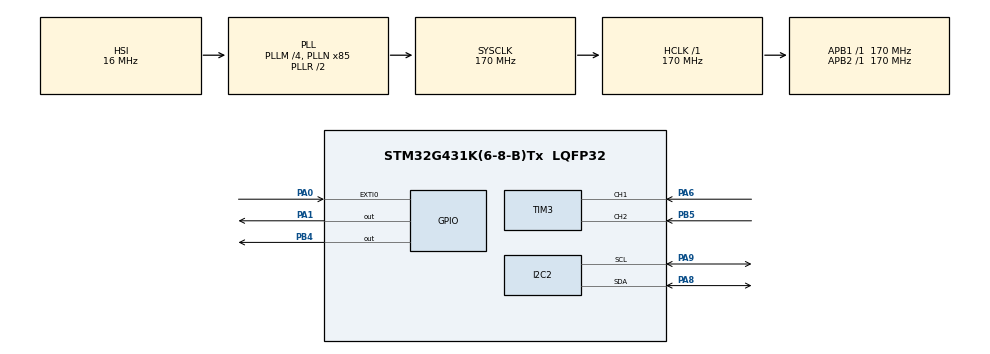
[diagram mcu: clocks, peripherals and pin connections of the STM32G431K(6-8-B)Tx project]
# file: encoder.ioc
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ADC1.Channel-0\#ChannelRegularConversion=ADC_CHANNEL_TEMPSENSOR_ADC1
ADC1.ExternalTrigConv=ADC_EXTERNALTRIG_T15_TRGO
ADC1.NbrOfConversionFlag=1
ADC1.OffsetNumber-0\#ChannelRegularConversion=ADC_OFFSET_NONE
ADC1.Rank-0\#ChannelRegularConversion=1
ADC1.SamplingTime-0\#ChannelRegularConversion=ADC_SAMPLETIME_640CYCLES_5
ADC1.master=1
I2C2.CustomTiming=Enabled
I2C2.Timing=0x40B285C2
Mcu.Family=STM32G4
Mcu.Name=STM32G431K(6-8-B)Tx
Mcu.Package=LQFP32
NUCLEO-G431KB.Bsp_Common_DEMO=true
NUCLEO-G431KB.LD2=true
NUCLEO-G431KB.VCP=true
NVIC.ADC1_2_IRQn=true\:0\:0\:false\:false\:true\:true\:true\:true
NVIC.EXTI0_IRQn=true\:0\:0\:false\:true\:true\:1\:true\:true\:true
NVIC.I2C2_ER_IRQn=true\:0\:0\:false\:true\:true\:3\:true\:true\:true
NVIC.I2C2_EV_IRQn=true\:0\:0\:false\:true\:true\:2\:true\:true\:true
NVIC.PriorityGroup=NVIC_PRIORITYGROUP_4
NVIC.TIM3_IRQn=true\:0\:0\:false\:false\:true\:true\:true\:true
PA0.GPIO_ModeDefaultEXTI=GPIO_MODE_IT_FALLING
PA0.Signal=GPXTI0
PA1.Signal=GPIO_Output
PA13.Mode=Serial_Wire
PA13.Signal=SYS_JTMS-SWDIO
PA14.Mode=Serial_Wire
PA14.Signal=SYS_JTCK-SWCLK
PA2.Signal=USART2_TX
PA3.Signal=USART2_RX
PA6.GPIO_PuPd=GPIO_PULLUP
PA6.Signal=S_TIM3_CH1
PA8.GPIO_Pu=GPIO_PULLUP
PA8.Mode=I2C
PA8.Signal=I2C2_SDA
PA9.GPIO_Pu=GPIO_PULLUP
PA9.Mode=I2C
PA9.Signal=I2C2_SCL
PB4.Signal=GPIO_Output
PB5.GPIO_PuPd=GPIO_PULLUP
PB5.Signal=S_TIM3_CH2
PF0-OSC_IN.Mode=HSE-External-Oscillator
PF0-OSC_IN.Signal=RCC_OSC_IN
PF1-OSC_OUT.Mode=HSE-External-Oscillator
PF1-OSC_OUT.Signal=RCC_OSC_OUT
ProjectManager.HeapSize=0x200
ProjectManager.StackSize=0x400
ProjectManager.TargetToolchain=STM32CubeIDE
RCC.ADC12Freq_Value=170000000
RCC.AHBFreq_Value=170000000
RCC.APB1Freq_Value=170000000
RCC.APB1TimFreq_Value=170000000
RCC.APB2Freq_Value=170000000
RCC.APB2TimFreq_Value=170000000
RCC.CortexFreq_Value=170000000
RCC.EXTERNAL_CLOCK_VALUE=12288000
RCC.HCLKFreq_Value=170000000
RCC.HSE_VALUE=8000000
RCC.HSI48_VALUE=48000000
RCC.HSI_VALUE=16000000
RCC.LSE_VALUE=32768
RCC.PLLM=RCC_PLLM_DIV4
RCC.PLLN=85
RCC.PREFETCH_ENABLE=1
RCC.SYSCLKFreq_VALUE=170000000
RCC.SYSCLKSource=RCC_SYSCLKSOURCE_PLLCLK
RCC.USBFreq_Value=170000000
RCC.VCOOutputFreq_Value=340000000
SH.S_TIM3_CH1.0=TIM3_CH1,Encoder_Interface
SH.S_TIM3_CH2.0=TIM3_CH2,Encoder_Interface
TIM3.EncoderMode=TIM_ENCODERMODE_TI12
TIM3.IC1Filter=15
TIM3.IC1Polarity=TIM_ICPOLARITY_FALLING
TIM3.IC2Filter=15
TIM3.IC2Polarity=TIM_ICPOLARITY_FALLING
VP_ADC1_TempSens_Input.Mode=IN-TempSens
VP_ADC1_Vref_Input.Mode=IN-Vrefint
VP_NUCLEO-G431KB_VS_BSP_COMMON.Mode=COMMON
VP_RTC_VS_RTC_Activate.Mode=RTC_Enabled
VP_SYS_VS_DBSignals.Mode=DisableDeadBatterySignals
VP_SYS_V_PVD_IN.Mode=Mode_PVD_Int
VP_TIM15_VS_ClockSourceINT.Mode=Internal
board=NUCLEO-G431KB

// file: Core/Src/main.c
/* USER CODE BEGIN Header */
/**
  ******************************************************************************
  * @file           : main.c
  * @brief          : Main program body
  ******************************************************************************
  * @attention
  *
  * Copyright (c) 2026 STMicroelectronics.
  * All rights reserved.
  *
  * This software is licensed under terms that can be found in the LICENSE file
  * in the root directory of this software component.
  * If no LICENSE file comes with this software, it is provided AS-IS.
  *
  ******************************************************************************
  */
/* USER CODE END Header */
#include "main.h"

/* USER CODE BEGIN Includes */
#include "OLED.h"
#include <stdio.h>
/* USER CODE END Includes */

COM_InitTypeDef BspCOMInit;

ADC_HandleTypeDef hadc1;

I2C_HandleTypeDef hi2c2;

RTC_HandleTypeDef hrtc;

TIM_HandleTypeDef htim3;
TIM_HandleTypeDef htim15;

/* USER CODE BEGIN PV */
// static const uint8_t HUM_ADDR = 0x44 << 1;
// static const uint8_t LIS3DH_ADDR = 0x18 << 1;
// static const uint8_t DISPLAY_ADDR = 0x3C << 1;
// static const uint8_t TEMP_ADDR = 0x48 << 1;
// static const uint8_t BMP280_ADDR 0x77 << 1
// static const uint8_t AHT20_ADDR 0x38 << 1

uint32_t counter = 0;
uint16_t count = 0;
uint16_t pos = 0;
int speed = 0;
/* USER CODE END PV */

void SystemClock_Config(void);
static void MX_GPIO_Init(void);
static void MX_I2C2_Init(void);
static void MX_ADC1_Init(void);
static void MX_RTC_Init(void);
static void MX_TIM15_Init(void);
static void MX_TIM3_Init(void);
static void MX_NVIC_Init(void);
/* USER CODE BEGIN PFP */
void HAL_TIM_IC_CaptureCallback(TIM_HandleTypeDef *htim);

/* USER CODE END PFP */

int main(void)
{

  /* MCU Configuration--------------------------------------------------------*/

  /* Reset of all peripherals, Initializes the Flash interface and the Systick. */
  HAL_Init();

  /* Configure the system clock */
  SystemClock_Config();

  /* Initialize all configured peripherals */
  MX_GPIO_Init();
  MX_I2C2_Init();
  MX_ADC1_Init();
  MX_RTC_Init();
  MX_TIM15_Init();
  MX_TIM3_Init();

  /* Initialize interrupts */
  MX_NVIC_Init();
  /* USER CODE BEGIN 2 */

  int encoder_value = 0;
  int past_counter_value = 0;
  float angle = 0.0;
  char print_msg[200] = {'\0'};

  HAL_TIM_Encoder_Start(&htim3, TIM_CHANNEL_ALL);
  /* USER CODE END 2 */

  /* Initialize leds */
  BSP_LED_Init(LED_GREEN);

  /* Initialize COM1 port (115200, 8 bits (7-bit data + 1 stop bit), no parity */
  BspCOMInit.BaudRate   = 115200;
  BspCOMInit.WordLength = COM_WORDLENGTH_8B;
  BspCOMInit.StopBits   = COM_STOPBITS_1;
  BspCOMInit.Parity     = COM_PARITY_NONE;
  BspCOMInit.HwFlowCtl  = COM_HWCONTROL_NONE;
  if (BSP_COM_Init(COM1, &BspCOMInit) != BSP_ERROR_NONE)
  {
    Error_Handler();
  }

  /* USER CODE BEGIN BSP */

  /* -- Sample board code to send message over COM1 port ---- */
  printf("Welcome to STM32 world !\n\r");

  /* -- Sample board code to switch on leds ---- */
  BSP_LED_On(LED_GREEN);
  /* USER CODE END BSP */

  /* Infinite loop */
  /* USER CODE BEGIN WHILE */

  //Display Initialisation
  HAL_Delay(100);
  OLED_Init(Display);
  HAL_Delay(10);
  OLED_CLS(Display);
  HAL_Delay(10);
  OLED_P8x16Str(Display, 0, 4, "MaKE sOme FuN!;)");
  HAL_Delay(2000);
  OLED_CLS(Display);
  HAL_Delay(10);

  while (1)
  {

/* -- Sample board code to toggle leds ---- */
       BSP_LED_Toggle(LED_GREEN);

    /* USER CODE END WHILE */

    /* USER CODE BEGIN 3 */

       encoder_value = TIM3->CNT; // current counter
       if (encoder_value != past_counter_value) {
    	   angle = (360.0f/2400.0f)*((float)encoder_value);
    	   sprintf(print_msg, "Angle: %.2f  ", angle);
    	   printf("Current angle is: %.2f\r\n", angle);
    	   OLED_P8x16Str(Display, 0, 2, print_msg);
    	   HAL_Delay(50);

       }
       past_counter_value = encoder_value;

  }
  /* USER CODE END 3 */
}

void SystemClock_Config(void)
{
  RCC_OscInitTypeDef RCC_OscInitStruct = {0};
  RCC_ClkInitTypeDef RCC_ClkInitStruct = {0};

  /** Configure the main internal regulator output voltage
  */
  HAL_PWREx_ControlVoltageScaling(PWR_REGULATOR_VOLTAGE_SCALE1_BOOST);

  /** Initializes the RCC Oscillators according to the specified parameters
  * in the RCC_OscInitTypeDef structure.
  */
  RCC_OscInitStruct.OscillatorType = RCC_OSCILLATORTYPE_HSI|RCC_OSCILLATORTYPE_LSI;
  RCC_OscInitStruct.HSIState = RCC_HSI_ON;
  RCC_OscInitStruct.HSICalibrationValue = RCC_HSICALIBRATION_DEFAULT;
  RCC_OscInitStruct.LSIState = RCC_LSI_ON;
  RCC_OscInitStruct.PLL.PLLState = RCC_PLL_ON;
  RCC_OscInitStruct.PLL.PLLSource = RCC_PLLSOURCE_HSI;
  RCC_OscInitStruct.PLL.PLLM = RCC_PLLM_DIV4;
  RCC_OscInitStruct.PLL.PLLN = 85;
  RCC_OscInitStruct.PLL.PLLP = RCC_PLLP_DIV2;
  RCC_OscInitStruct.PLL.PLLQ = RCC_PLLQ_DIV2;
  RCC_OscInitStruct.PLL.PLLR = RCC_PLLR_DIV2;
  if (HAL_RCC_OscConfig(&RCC_OscInitStruct) != HAL_OK)
  {
    Error_Handler();
  }

  /** Initializes the CPU, AHB and APB buses clocks
  */
  RCC_ClkInitStruct.ClockType = RCC_CLOCKTYPE_HCLK|RCC_CLOCKTYPE_SYSCLK
                              |RCC_CLOCKTYPE_PCLK1|RCC_CLOCKTYPE_PCLK2;
  RCC_ClkInitStruct.SYSCLKSource = RCC_SYSCLKSOURCE_PLLCLK;
  RCC_ClkInitStruct.AHBCLKDivider = RCC_SYSCLK_DIV1;
  RCC_ClkInitStruct.APB1CLKDivider = RCC_HCLK_DIV1;
  RCC_ClkInitStruct.APB2CLKDivider = RCC_HCLK_DIV1;

  if (HAL_RCC_ClockConfig(&RCC_ClkInitStruct, FLASH_LATENCY_4) != HAL_OK)
  {
    Error_Handler();
  }
}

/**
  * @brief NVIC Configuration.
  * @retval None
  */
static void MX_NVIC_Init(void)
{
  /* EXTI0_IRQn interrupt configuration */
  HAL_NVIC_SetPriority(EXTI0_IRQn, 0, 0);
  HAL_NVIC_EnableIRQ(EXTI0_IRQn);
  /* I2C2_EV_IRQn interrupt configuration */
  HAL_NVIC_SetPriority(I2C2_EV_IRQn, 0, 0);
  HAL_NVIC_EnableIRQ(I2C2_EV_IRQn);
  /* I2C2_ER_IRQn interrupt configuration */
  HAL_NVIC_SetPriority(I2C2_ER_IRQn, 0, 0);
  HAL_NVIC_EnableIRQ(I2C2_ER_IRQn);
}

static void MX_ADC1_Init(void)
{

  ADC_MultiModeTypeDef multimode = {0};
  ADC_ChannelConfTypeDef sConfig = {0};

  /** Common config
  */
  hadc1.Instance = ADC1;
  hadc1.Init.ClockPrescaler = ADC_CLOCK_SYNC_PCLK_DIV4;
  hadc1.Init.Resolution = ADC_RESOLUTION_12B;
  hadc1.Init.DataAlign = ADC_DATAALIGN_RIGHT;
  hadc1.Init.GainCompensation = 0;
  hadc1.Init.ScanConvMode = ADC_SCAN_DISABLE;
  hadc1.Init.EOCSelection = ADC_EOC_SINGLE_CONV;
  hadc1.Init.LowPowerAutoWait = DISABLE;
  hadc1.Init.ContinuousConvMode = DISABLE;
  hadc1.Init.NbrOfConversion = 1;
  hadc1.Init.DiscontinuousConvMode = DISABLE;
  hadc1.Init.ExternalTrigConv = ADC_EXTERNALTRIG_T15_TRGO;
  hadc1.Init.ExternalTrigConvEdge = ADC_EXTERNALTRIGCONVEDGE_RISING;
  hadc1.Init.DMAContinuousRequests = DISABLE;
  hadc1.Init.Overrun = ADC_OVR_DATA_PRESERVED;
  hadc1.Init.OversamplingMode = DISABLE;
  if (HAL_ADC_Init(&hadc1) != HAL_OK)
  {
    Error_Handler();
  }

  /** Configure the ADC multi-mode
  */
  multimode.Mode = ADC_MODE_INDEPENDENT;
  if (HAL_ADCEx_MultiModeConfigChannel(&hadc1, &multimode) != HAL_OK)
  {
    Error_Handler();
  }

  /** Configure Regular Channel
  */
  sConfig.Channel = ADC_CHANNEL_TEMPSENSOR_ADC1;
  sConfig.Rank = ADC_REGULAR_RANK_1;
  sConfig.SamplingTime = ADC_SAMPLETIME_640CYCLES_5;
  sConfig.SingleDiff = ADC_SINGLE_ENDED;
  sConfig.OffsetNumber = ADC_OFFSET_NONE;
  sConfig.Offset = 0;
  if (HAL_ADC_ConfigChannel(&hadc1, &sConfig) != HAL_OK)
  {
    Error_Handler();
  }

}

static void MX_I2C2_Init(void)
{

  hi2c2.Instance = I2C2;
  hi2c2.Init.Timing = 0x40B285C2;
  hi2c2.Init.OwnAddress1 = 0;
  hi2c2.Init.AddressingMode = I2C_ADDRESSINGMODE_7BIT;
  hi2c2.Init.DualAddressMode = I2C_DUALADDRESS_DISABLE;
  hi2c2.Init.OwnAddress2 = 0;
  hi2c2.Init.OwnAddress2Masks = I2C_OA2_NOMASK;
  hi2c2.Init.GeneralCallMode = I2C_GENERALCALL_DISABLE;
  hi2c2.Init.NoStretchMode = I2C_NOSTRETCH_DISABLE;
  if (HAL_I2C_Init(&hi2c2) != HAL_OK)
  {
    Error_Handler();
  }

  /** Configure Analogue filter
  */
  if (HAL_I2CEx_ConfigAnalogFilter(&hi2c2, I2C_ANALOGFILTER_ENABLE) != HAL_OK)
  {
    Error_Handler();
  }

  /** Configure Digital filter
  */
  if (HAL_I2CEx_ConfigDigitalFilter(&hi2c2, 0) != HAL_OK)
  {
    Error_Handler();
  }

}

static void MX_RTC_Init(void)
{

  /** Initialize RTC Only
  */
  hrtc.Instance = RTC;
  hrtc.Init.HourFormat = RTC_HOURFORMAT_24;
  hrtc.Init.AsynchPrediv = 127;
  hrtc.Init.SynchPrediv = 255;
  hrtc.Init.OutPut = RTC_OUTPUT_DISABLE;
  hrtc.Init.OutPutRemap = RTC_OUTPUT_REMAP_NONE;
  hrtc.Init.OutPutPolarity = RTC_OUTPUT_POLARITY_HIGH;
  hrtc.Init.OutPutType = RTC_OUTPUT_TYPE_OPENDRAIN;
  hrtc.Init.OutPutPullUp = RTC_OUTPUT_PULLUP_NONE;
  if (HAL_RTC_Init(&hrtc) != HAL_OK)
  {
    Error_Handler();
  }

}

static void MX_TIM3_Init(void)
{

  TIM_Encoder_InitTypeDef sConfig = {0};
  TIM_MasterConfigTypeDef sMasterConfig = {0};

  htim3.Instance = TIM3;
  htim3.Init.Prescaler = 0;
  htim3.Init.CounterMode = TIM_COUNTERMODE_UP;
  htim3.Init.Period = 65535;
  htim3.Init.ClockDivision = TIM_CLOCKDIVISION_DIV1;
  htim3.Init.AutoReloadPreload = TIM_AUTORELOAD_PRELOAD_DISABLE;
  sConfig.EncoderMode = TIM_ENCODERMODE_TI12;
  sConfig.IC1Polarity = TIM_ICPOLARITY_FALLING;
  sConfig.IC1Selection = TIM_ICSELECTION_DIRECTTI;
  sConfig.IC1Prescaler = TIM_ICPSC_DIV1;
  sConfig.IC1Filter = 15;
  sConfig.IC2Polarity = TIM_ICPOLARITY_FALLING;
  sConfig.IC2Selection = TIM_ICSELECTION_DIRECTTI;
  sConfig.IC2Prescaler = TIM_ICPSC_DIV1;
  sConfig.IC2Filter = 15;
  if (HAL_TIM_Encoder_Init(&htim3, &sConfig) != HAL_OK)
  {
    Error_Handler();
  }
  sMasterConfig.MasterOutputTrigger = TIM_TRGO_RESET;
  sMasterConfig.MasterSlaveMode = TIM_MASTERSLAVEMODE_DISABLE;
  if (HAL_TIMEx_MasterConfigSynchronization(&htim3, &sMasterConfig) != HAL_OK)
  {
    Error_Handler();
  }

}

static void MX_TIM15_Init(void)
{

  TIM_ClockConfigTypeDef sClockSourceConfig = {0};
  TIM_MasterConfigTypeDef sMasterConfig = {0};

  htim15.Instance = TIM15;
  htim15.Init.Prescaler = 0;
  htim15.Init.CounterMode = TIM_COUNTERMODE_UP;
  htim15.Init.Period = 65535;
  htim15.Init.ClockDivision = TIM_CLOCKDIVISION_DIV1;
  htim15.Init.RepetitionCounter = 0;
  htim15.Init.AutoReloadPreload = TIM_AUTORELOAD_PRELOAD_DISABLE;
  if (HAL_TIM_Base_Init(&htim15) != HAL_OK)
  {
    Error_Handler();
  }
  sClockSourceConfig.ClockSource = TIM_CLOCKSOURCE_INTERNAL;
  if (HAL_TIM_ConfigClockSource(&htim15, &sClockSourceConfig) != HAL_OK)
  {
    Error_Handler();
  }
  sMasterConfig.MasterOutputTrigger = TIM_TRGO_RESET;
  sMasterConfig.MasterSlaveMode = TIM_MASTERSLAVEMODE_DISABLE;
  if (HAL_TIMEx_MasterConfigSynchronization(&htim15, &sMasterConfig) != HAL_OK)
  {
    Error_Handler();
  }

}

static void MX_GPIO_Init(void)
{
  GPIO_InitTypeDef GPIO_InitStruct = {0};

  /* GPIO Ports Clock Enable */
  __HAL_RCC_GPIOF_CLK_ENABLE();
  __HAL_RCC_GPIOA_CLK_ENABLE();
  __HAL_RCC_GPIOB_CLK_ENABLE();

  /*Configure GPIO pin Output Level */
  HAL_GPIO_WritePin(GPIOA, GPIO_PIN_1, GPIO_PIN_RESET);

  /*Configure GPIO pin Output Level */
  HAL_GPIO_WritePin(GPIOB, GPIO_PIN_4, GPIO_PIN_RESET);

  /*Configure GPIO pin : PA0 */
  GPIO_InitStruct.Pin = GPIO_PIN_0;
  GPIO_InitStruct.Mode = GPIO_MODE_IT_FALLING;
  GPIO_InitStruct.Pull = GPIO_NOPULL;
  HAL_GPIO_Init(GPIOA, &GPIO_InitStruct);

  /*Configure GPIO pin : PA1 */
  GPIO_InitStruct.Pin = GPIO_PIN_1;
  GPIO_InitStruct.Mode = GPIO_MODE_OUTPUT_PP;
  GPIO_InitStruct.Pull = GPIO_NOPULL;
  GPIO_InitStruct.Speed = GPIO_SPEED_FREQ_LOW;
  HAL_GPIO_Init(GPIOA, &GPIO_InitStruct);

  /*Configure GPIO pin : PB4 */
  GPIO_InitStruct.Pin = GPIO_PIN_4;
  GPIO_InitStruct.Mode = GPIO_MODE_OUTPUT_PP;
  GPIO_InitStruct.Pull = GPIO_NOPULL;
  GPIO_InitStruct.Speed = GPIO_SPEED_FREQ_LOW;
  HAL_GPIO_Init(GPIOB, &GPIO_InitStruct);

}

/* USER CODE BEGIN 4 */
void HAL_TIM_IC_CaptureCallback(TIM_HandleTypeDef *htim){
	counter = __HAL_TIM_GET_COUNTER(htim);
	count = (int16_t)counter;
}
/* USER CODE END 4 */

/* USER CODE BEGIN Header */
/**
  ******************************************************************************
  * @file           : main.c
  * @brief          : Main program body
  ******************************************************************************
  * @attention
  *
  * Copyright (c) 2026 STMicroelectronics.
  * All rights reserved.
  *
  * This software is licensed under terms that can be found in the LICENSE file
  * in the root directory of this software component.
  * If no LICENSE file comes with this software, it is provided AS-IS.
  *
  ******************************************************************************
  */
/* USER CODE END Header */

void Error_Handler(void)
{
  __disable_irq();
  while (1)
  {
  }
}
